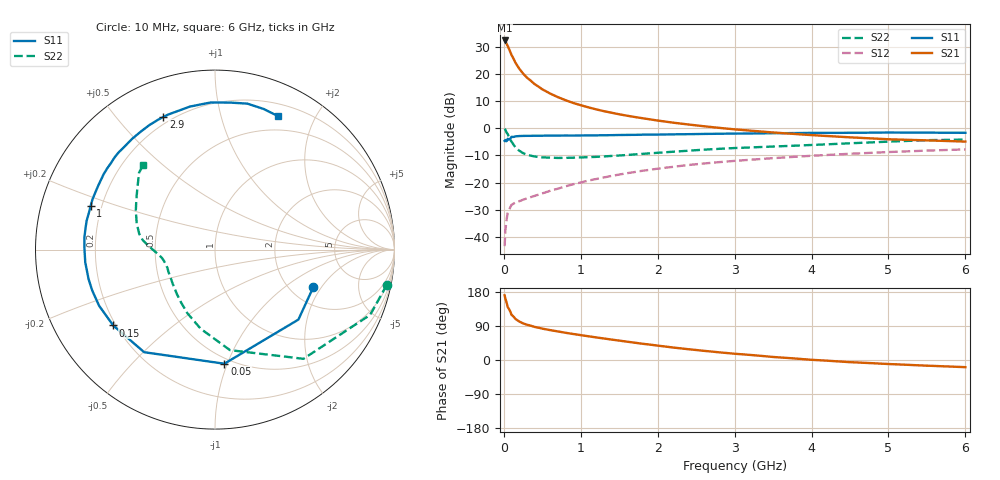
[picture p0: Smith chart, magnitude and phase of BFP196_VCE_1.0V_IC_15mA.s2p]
! Infineon Technologies  Discrete & RF Semiconductors
! BFP196
! VCE =  1.0 V,  IC =  15 mA
! Common Emitter S-Parameters:  Jan 2017
# GHz  S  MA  R  50
!  f  S11  S21  S12  S22
! GHz  MAG  ANG  MAG  ANG  MAG  ANG  MAG  ANG
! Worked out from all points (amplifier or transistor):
!   77 points, 10 MHz to 6 GHz, reference 50 ohm
!   highest |S21| = 32.2 dB at 10 MHz (marker M1)
!   |S21| within 3 dB of that: start of sweep to 65.56 MHz
!   unconditionally stable (mu >= 1): 815.1 MHz to 2.665 GHz
!   at 130 MHz: K = 0.32, MSG = 26.5 dB, |S12| = -27.6 dB
!   at 2.2 GHz: K = 1.03, MAG = 7.0 dB, |S12| = -14.2 dB
!   at 6 GHz: K = 0.98, MSG = 1.4 dB, |S12| = -7.8 dB
!   S11 on the Smith chart (normalised r, x): 10 MHz: 2.64, -1.69; 50 MHz: 0.46, -0.98; 150 MHz: 0.19, -0.32; 1 GHz: 0.16, +0.17; 2.9 GHz: 0.17, +0.67; 6 GHz: 0.33, +1.52
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0.01  0.5864 -20.9  40.89 170.7  0.0068 82.0  0.9771 -11.6
0.02  0.6066 -40.0  39.91 161.9  0.0133 75.0  0.938 -22.8
0.05  0.6379 -85.3  32.53 139.9  0.0278 55.9  0.7831 -51.0
0.1  0.6946 -124.6  22.15 119.1  0.039 42.3  0.5664 -81.5
0.15  0.7072 -143.3  16.01 108.5  0.0432 37.6  0.448 -100.3
0.2  0.7175 -154.1  12.42 101.6  0.0455 36.8  0.3859 -113.6
0.25  0.7211 -161.6  10.1 96.6  0.0486 37.2  0.3486 -123.1
0.3  0.7233 -166.9  8.487 93.1  0.0513 39.0  0.3255 -130.9
0.4  0.7264 -174.4  6.45 87.3  0.057 42.4  0.3021 -141.6
0.5  0.7274 179.7  5.179 82.8  0.0633 44.6  0.291 -148.9
0.6  0.7308 175.0  4.342 78.9  0.0706 46.7  0.2875 -154.5
0.7  0.7309 171.3  3.729 75.5  0.0772 49.1  0.2841 -158.6
0.8  0.7331 167.4  3.276 71.9  0.0852 50.7  0.2848 -161.7
1  0.7344 160.7  2.641 65.6  0.1005 51.5  0.2903 -166.9
1.1  0.7378 157.6  2.412 62.6  0.109 51.9  0.2935 -168.6
1.5  0.7493 145.8  1.799 51.2  0.1407 50.5  0.3151 -175.0
2.1  0.7662 129.4  1.321 35.5  0.1876 45.7  0.361 178.0
2.9  0.7929 111.3  0.982 18.4  0.2443 36.9  0.4246 169.4
3.1  0.7971 107.4  0.927 15.0  0.2567 34.6  0.437 166.7
4.1  0.8195 90.2  0.732 -0.6  0.3165 23.2  0.4983 152.1
5.1  0.8313 76.2  0.62 -11.4  0.3688 11.9  0.5734 138.3
6  0.8225 64.9  0.567 -18.9  0.4079 1.9  0.6178 130.3
